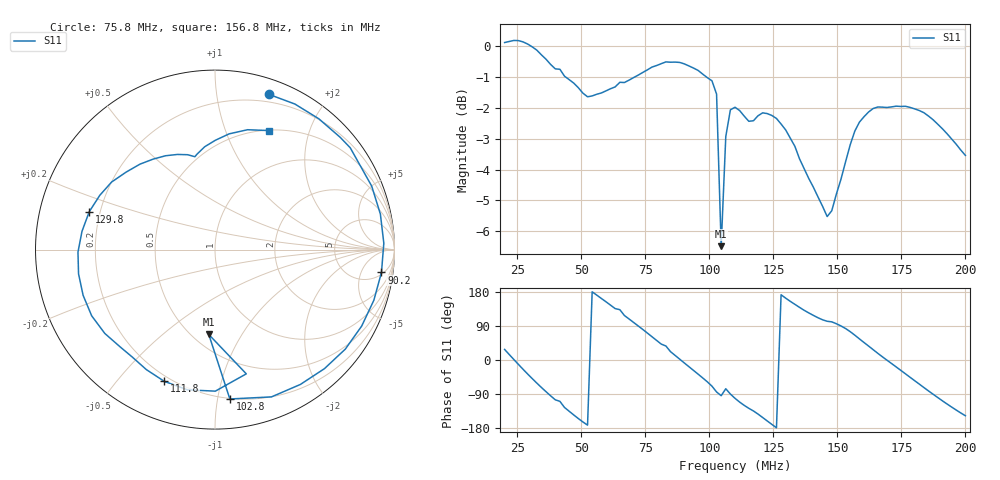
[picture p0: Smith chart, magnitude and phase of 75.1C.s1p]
# HZ S RI R 50
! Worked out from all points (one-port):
!   101 points, 20 MHz to 200 MHz, reference 50 ohm
!   lowest |S11| = -6.5 dB at 104.6 MHz (marker M1), VSWR 2.80, Z = 30 - j36.5 ohm
!   |S11| at or under -10 dB: nowhere
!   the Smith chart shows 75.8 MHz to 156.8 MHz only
!   S11 on the Smith chart (normalised r, x): 75.8 MHz: 0.13, +1.40; 90.2 MHz: 6, -12; 102.8 MHz: 0.20, -1.09; 111.8 MHz: 0.17, -0.67; 129.8 MHz: 0.16, +0.14; 156.8 MHz: 0.51, +1.43
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2e7  0.8966 0.4732
2.54e7  1 -0.2062
3.26e7  0.477 -0.862
3.8e7  -0.0753 -0.931
4.34e7  -0.5158 -0.7304
5.42e7  -0.8307 0.00141
6.5e7  -0.5943 0.6408
7.04e7  -0.1404 0.8784
7.58e7  0.2994 0.8653
8.3e7  0.7534 0.5674
8.84e7  0.9406 0.0357
9.02e7  0.9275 -0.1272
9.74e7  0.6096 -0.6634
1.028e8  0.0828 -0.8322
1.046e8  -0.0346 -0.4729
1.064e8  0.1743 -0.6922
1.1e8  -0.1533 -0.7813
1.118e8  -0.2822 -0.7342
1.226e8  -0.7349 -0.2546
1.298e8  -0.7005 0.2113
1.334e8  -0.576 0.3765
1.46e8  -0.112 0.5176
1.55e8  0.1813 0.6679
1.568e8  0.3016 0.6631
1.676e8  0.7882 0.1151
1.784e8  0.5563 -0.5691
1.874e8  -0.00587 -0.7599
2e8  -0.5587 -0.3613
